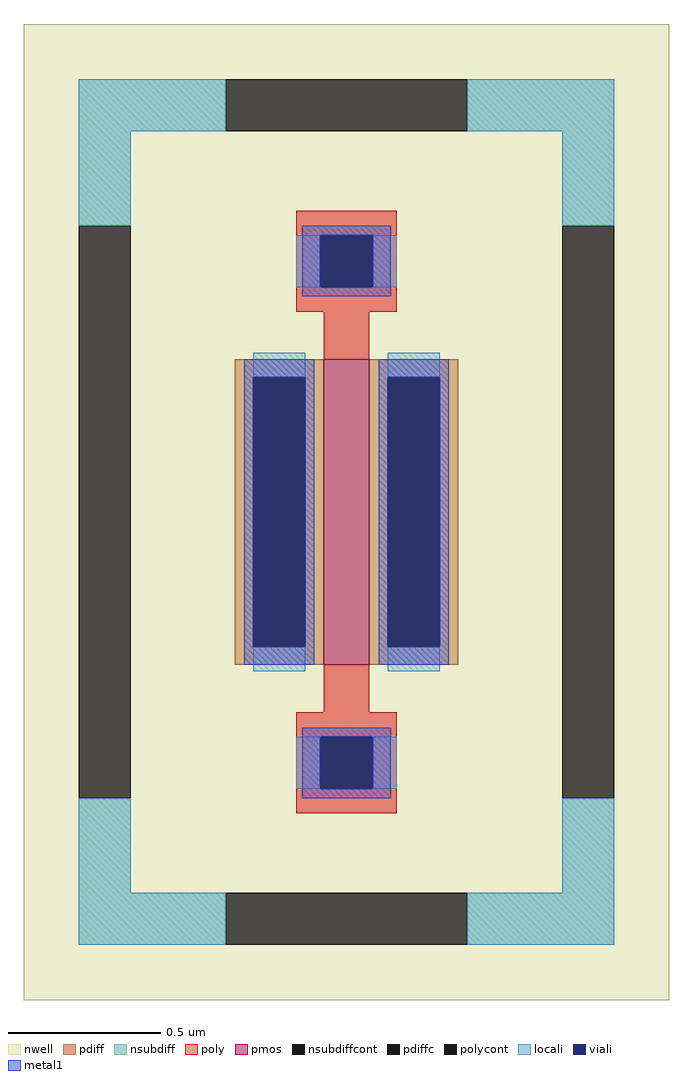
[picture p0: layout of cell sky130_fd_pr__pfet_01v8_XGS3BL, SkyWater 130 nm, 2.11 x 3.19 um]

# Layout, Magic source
magic
tech sky130A
magscale 1 2
<< nwell >>
rect -211 -319 211 319
<< pmos >>
rect -15 -100 15 100
<< pdiff >>
rect -73 88 -15 100
rect -73 -88 -61 88
rect -27 -88 -15 88
rect -73 -100 -15 -88
rect 15 88 73 100
rect 15 -88 27 88
rect 61 -88 73 88
rect 15 -100 73 -88
<< pdiffc >>
rect -61 -88 -27 88
rect 27 -88 61 88
<< nsubdiff >>
rect -175 249 -79 283
rect 79 249 175 283
rect -175 187 -141 249
rect 141 187 175 249
rect -175 -249 -141 -187
rect 141 -249 175 -187
rect -175 -283 -79 -249
rect 79 -283 175 -249
<< nsubdiffcont >>
rect -79 249 79 283
rect -175 -187 -141 187
rect 141 -187 175 187
rect -79 -283 79 -249
<< poly >>
rect -33 181 33 197
rect -33 147 -17 181
rect 17 147 33 181
rect -33 131 33 147
rect -15 100 15 131
rect -15 -131 15 -100
rect -33 -147 33 -131
rect -33 -181 -17 -147
rect 17 -181 33 -147
rect -33 -197 33 -181
<< polycont >>
rect -17 147 17 181
rect -17 -181 17 -147
<< locali >>
rect -175 249 -79 283
rect 79 249 175 283
rect -175 187 -141 249
rect 141 187 175 249
rect -33 147 -17 181
rect 17 147 33 181
rect -61 88 -27 104
rect -61 -104 -27 -88
rect 27 88 61 104
rect 27 -104 61 -88
rect -33 -181 -17 -147
rect 17 -181 33 -147
rect -175 -249 -141 -187
rect 141 -249 175 -187
rect -175 -283 -79 -249
rect 79 -283 175 -249
<< viali >>
rect -17 147 17 181
rect -61 -88 -27 88
rect 27 -88 61 88
rect -17 -181 17 -147
<< metal1 >>
rect -29 181 29 187
rect -29 147 -17 181
rect 17 147 29 181
rect -29 141 29 147
rect -67 88 -21 100
rect -67 -88 -61 88
rect -27 -88 -21 88
rect -67 -100 -21 -88
rect 21 88 67 100
rect 21 -88 27 88
rect 61 -88 67 88
rect 21 -100 67 -88
rect -29 -147 29 -141
rect -29 -181 -17 -147
rect 17 -181 29 -147
rect -29 -187 29 -181
<< properties >>
string FIXED_BBOX -158 -266 158 266
string gencell sky130_fd_pr__pfet_01v8
string library sky130
string parameters w 1.0 l 0.15 m 1 nf 1 diffcov 100 polycov 100 guard 1 glc 1 grc 1 gtc 1 gbc 1 tbcov 100 rlcov 100 topc 1 botc 1 poverlap 0 doverlap 1 lmin 0.15 wmin 0.42 compatible {sky130_fd_pr__pfet_01v8  sky130_fd_pr__pfet_01v8_lvt sky130_fd_pr__pfet_01v8_hvt  sky130_fd_pr__pfet_g5v0d10v5} full_metal 1 viasrc 100 viadrn 100 viagate 100 viagb 0 viagr 0 viagl 0 viagt 0
<< end >>
